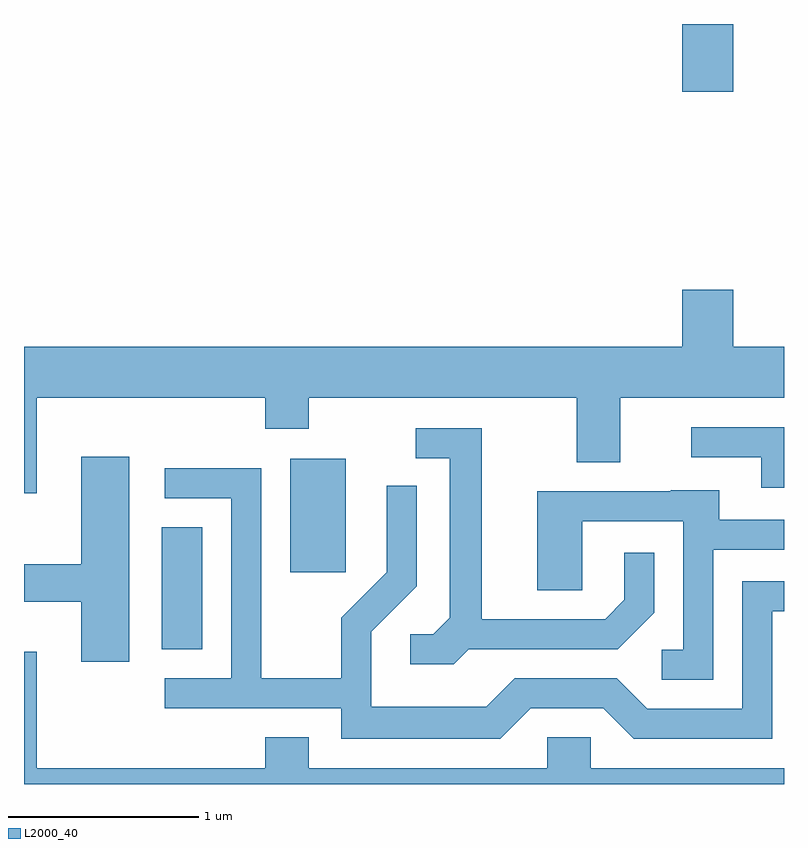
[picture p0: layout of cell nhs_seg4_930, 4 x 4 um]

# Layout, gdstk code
import gdstk
lib = gdstk.Library(unit=1e-6, precision=1e-09)
def R(c, l, rs):  # rectangles x0, y0, x1, y1
    for r in rs: c.add(gdstk.rectangle(r[:2], r[2:], *l))
def P(c, l, *ps):  # polygons
    for p in ps: c.add(gdstk.Polygon(p, *l))
L2000_40 = (2000, 40)

nhs_seg4_930 = lib.new_cell('nhs_seg4_930')
R(nhs_seg4_930, L2000_40, [(212.336,1346.691,212.549,1347.334), (213.011,1347.096,213.304,1347.694), (215.076,1349.626,215.344,1349.982)])
P(nhs_seg4_930, L2000_40, [(211.679,1348.016),(212.881,1348.016),(212.881,1347.851),(213.109,1347.851),(213.109,1348.016),(214.521,1348.016),(214.521,1347.676),(214.749,1347.676),(214.749,1348.016),(215.611,1348.016),(215.611,1348.284),(215.344,1348.284),(215.344,1348.584),(215.076,1348.584),(215.076,1348.284),(211.611,1348.284),(211.611,1347.511),(211.679,1347.511)],
  [(215.611,1347.859),(215.123,1347.859),(215.123,1347.701),(215.491,1347.701),(215.491,1347.541),(215.611,1347.541)],
  [(213.952,1346.691),(214.737,1346.691),(214.929,1346.884),(214.929,1347.198),(214.771,1347.198),(214.771,1346.952),(214.669,1346.849),(214.019,1346.849),(214.019,1347.854),(213.673,1347.854),(213.673,1347.696),(213.851,1347.696),(213.851,1346.857),(213.764,1346.769),(213.643,1346.769),(213.643,1346.611),(213.872,1346.611)],
  [(212.164,1347.704),(211.911,1347.704),(211.911,1347.139),(211.611,1347.139),(211.611,1346.941),(211.911,1346.941),(211.911,1346.626),(212.164,1346.626)],
  [(214.277,1346.381),(214.659,1346.381),(214.819,1346.221),(215.549,1346.221),(215.549,1346.891),(215.611,1346.891),(215.611,1347.049),(215.391,1347.049),(215.391,1346.379),(214.892,1346.379),(214.732,1346.539),(214.194,1346.539),(214.044,1346.389),(213.439,1346.389),(213.439,1346.784),(213.679,1347.024),(213.679,1347.553),(213.521,1347.553),(213.521,1347.097),(213.281,1346.857),(213.281,1346.539),(212.859,1346.539),(212.859,1347.644),(212.353,1347.644),(212.353,1347.486),(212.701,1347.486),(212.701,1346.539),(212.353,1346.539),(212.353,1346.381),(213.281,1346.381),(213.281,1346.221),(214.117,1346.221)],
  [(215.239,1347.216),(215.611,1347.216),(215.611,1347.374),(215.269,1347.374),(215.269,1347.529),(215.015,1347.529),(215.015,1347.524),(214.311,1347.524),(214.311,1347.001),(214.549,1347.001),(214.549,1347.366),(215.081,1347.366),(215.081,1346.689),(214.968,1346.689),(214.968,1346.531),(215.239,1346.531)],
  [(215.611,1346.064),(214.594,1346.064),(214.594,1346.229),(214.366,1346.229),(214.366,1346.064),(213.109,1346.064),(213.109,1346.229),(212.881,1346.229),(212.881,1346.064),(211.679,1346.064),(211.679,1346.679),(211.611,1346.679),(211.611,1345.982),(215.611,1345.982)])

lib.write_gds('nhs_seg4_930.gds')
